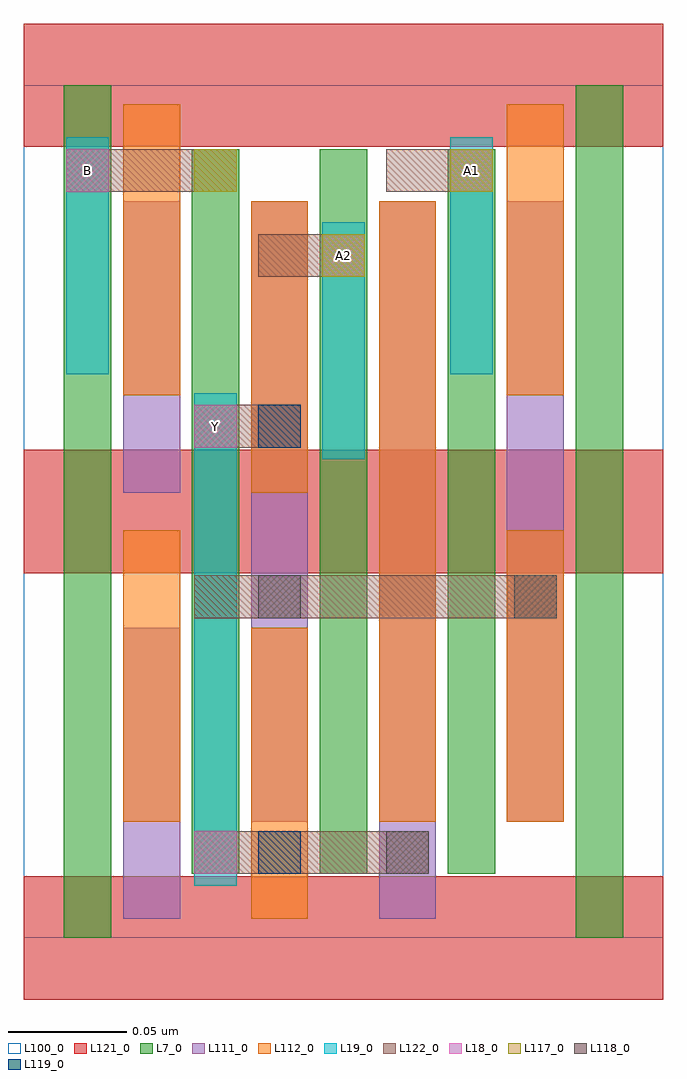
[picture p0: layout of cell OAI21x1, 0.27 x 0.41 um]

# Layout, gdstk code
import gdstk
lib = gdstk.Library(unit=1e-6, precision=2.5e-10)
def R(c, l, rs):  # rectangles x0, y0, x1, y1
    for r in rs: c.add(gdstk.rectangle(r[:2], r[2:], *l))
def A(c, l, x, y, w, h, nx, ny, dx, dy):  # array of equal rectangles
    R(c, l, [(x+i*dx, y+j*dy, x+i*dx+w, y+j*dy+h) for i in range(nx) for j in range(ny)])
L7_0 = (7, 0)
L18_0 = (18, 0)
L19_0 = (19, 0)
L100_0 = (100, 0)
L111_0 = (111, 0)
L112_0 = (112, 0)
L117_0 = (117, 0)
L118_0 = (118, 0)
L119_0 = (119, 0)
L121_0 = (121, 0)
L122_0 = (122, 0)

oai21x1 = lib.new_cell('OAI21x1')
A(oai21x1, L7_0, 0.071, 0.027, 0.02, 0.153, 3, 2, 0.054, 0.153)
R(oai21x1, L7_0, [(0.017,0,0.037,0.18), (0.233,0,0.253,0.18), (0.017,0.18,0.037,0.36), (0.233,0.18,0.253,0.36)])
R(oai21x1, L18_0, [(0.072,0.027,0.09,0.045), (0.072,0.207,0.09,0.225), (0.126,0.279,0.144,0.297), (0.018,0.315,0.036,0.333), (0.18,0.315,0.198,0.333)])
R(oai21x1, L19_0, [(0.072,0.022,0.09,0.23), (0.126,0.202,0.144,0.302), (0.018,0.238,0.036,0.338), (0.18,0.238,0.198,0.338)])
R(oai21x1, L100_0, [(0,0,0.27,0.36)])
A(oai21x1, L111_0, 0.096, 0.18, 0.024, 0.131, 3, 1, 0.054, 0)
R(oai21x1, L111_0, [(0.042,0.008,0.066,0.131), (0.15,0.008,0.174,0.18), (0.096,0.049,0.12,0.18), (0.204,0.049,0.228,0.18), (0.042,0.188,0.066,0.311)])
R(oai21x1, L112_0, [(0.096,0.008,0.12,0.131), (0.042,0.049,0.066,0.172), (0.15,0.049,0.174,0.18), (0.204,0.049,0.228,0.172), (0.15,0.18,0.174,0.311), (0.096,0.188,0.12,0.311), (0.042,0.229,0.066,0.352), (0.204,0.229,0.228,0.352)])
R(oai21x1, L117_0, [(0.126,0.279,0.144,0.297), (0.072,0.315,0.09,0.333), (0.18,0.315,0.198,0.333)])
R(oai21x1, L118_0, [(0.153,0.027,0.171,0.045), (0.099,0.135,0.117,0.153), (0.207,0.135,0.225,0.153)])
R(oai21x1, L119_0, [(0.099,0.027,0.117,0.045), (0.099,0.207,0.117,0.225)])
A(oai21x1, L121_0, 0, -0.026, 0.27, 0.052, 1, 3, 0, 0.18)
R(oai21x1, L122_0, [(0.072,0.027,0.171,0.045), (0.072,0.135,0.225,0.153), (0.072,0.207,0.117,0.225), (0.099,0.279,0.144,0.297), (0.018,0.315,0.09,0.333), (0.153,0.315,0.198,0.333)])
oai21x1.add(gdstk.Label('Y', (0.081,0.216), layer=19, texttype=251))
oai21x1.add(gdstk.Label('B', (0.027,0.324), layer=19, texttype=251))
oai21x1.add(gdstk.Label('A2', (0.135,0.288), layer=19, texttype=251))
oai21x1.add(gdstk.Label('A1', (0.189,0.324), layer=19, texttype=251))

lib.write_gds('OAI21x1.gds')
